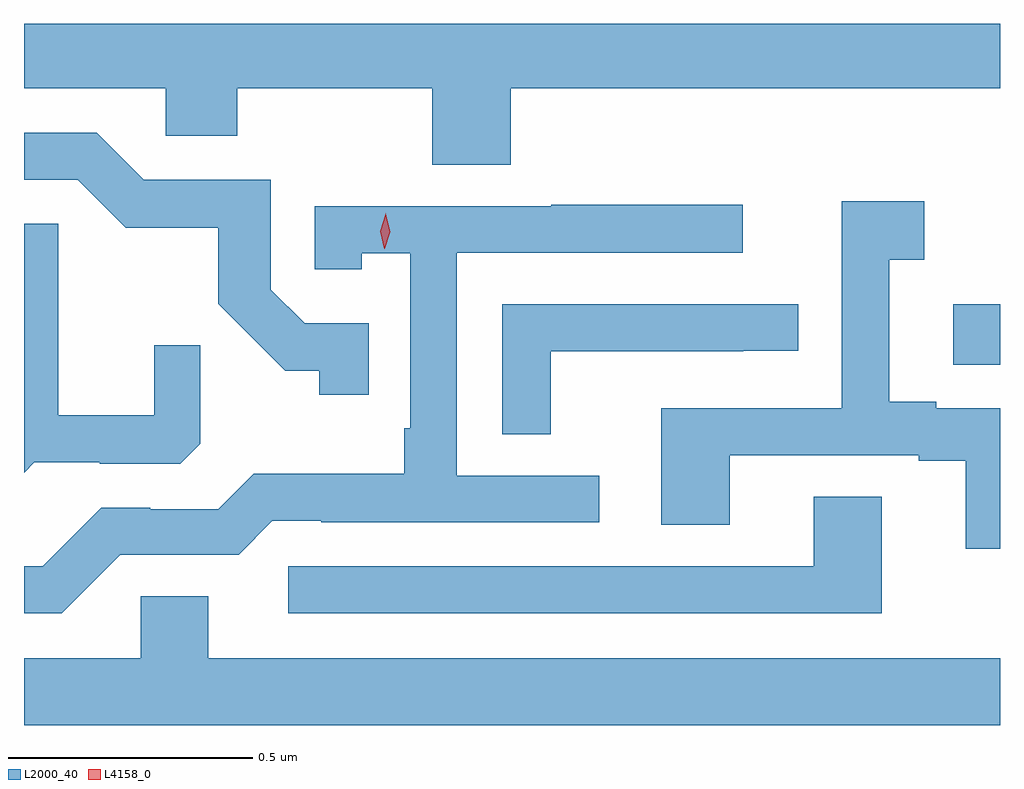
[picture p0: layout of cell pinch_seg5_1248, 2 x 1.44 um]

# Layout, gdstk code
import gdstk
lib = gdstk.Library(unit=1e-6, precision=1e-09)
def R(c, l, rs):  # rectangles x0, y0, x1, y1
    for r in rs: c.add(gdstk.rectangle(r[:2], r[2:], *l))
def P(c, l, *ps):  # polygons
    for p in ps: c.add(gdstk.Polygon(p, *l))
L2000_40 = (2000, 40)
L4158_0 = (4158, 0)

pinch_seg5_1248 = lib.new_cell('pinch_seg5_1248')
R(pinch_seg5_1248, L2000_40, [(372.969,914.801,373.065,914.925)])
P(pinch_seg5_1248, L2000_40, [(372.062,915.368),(373.065,915.368),(373.065,915.5),(371.065,915.5),(371.065,915.368),(371.355,915.368),(371.355,915.27),(371.502,915.27),(371.502,915.368),(371.902,915.368),(371.902,915.211),(372.062,915.211)],
  [(371.771,914.886),(371.64,914.886),(371.571,914.955),(371.571,915.18),(371.31,915.18),(371.214,915.276),(371.065,915.276),(371.065,915.18),(371.175,915.18),(371.274,915.082),(371.463,915.082),(371.463,914.926),(371.6,914.789),(371.67,914.789),(371.67,914.739),(371.771,914.739)],
  [(373.065,914.712),(372.934,914.712),(372.934,914.725),(372.838,914.725),(372.838,915.016),(372.91,915.016),(372.91,915.136),(372.741,915.136),(372.741,914.712),(372.371,914.712),(372.371,914.473),(372.511,914.473),(372.511,914.616),(372.899,914.616),(372.899,914.604),(372.995,914.604),(372.995,914.424),(373.065,914.424)],
  [(371.262,914.412),(371.505,914.412),(371.574,914.481),(371.674,914.481),(371.674,914.478),(372.244,914.478),(372.244,914.574),(371.952,914.574),(371.952,915.03),(372.538,915.03),(372.538,915.129),(372.145,915.129),(372.145,915.126),(371.661,915.126),(371.661,914.997),(371.757,914.997),(371.757,915.029),(371.856,915.029),(371.856,914.671),(371.844,914.671),(371.844,914.578),(371.536,914.578),(371.463,914.505),(371.324,914.505),(371.324,914.508),(371.223,914.508),(371.103,914.388),(371.065,914.388),(371.065,914.292),(371.142,914.292)],
  [(371.086,914.601),(371.22,914.601),(371.22,914.598),(371.385,914.598),(371.426,914.639),(371.426,914.841),(371.332,914.841),(371.332,914.698),(371.135,914.698),(371.135,915.09),(371.065,915.09),(371.065,914.58)],
  [(372.144,914.829),(372.539,914.829),(372.539,914.83),(372.652,914.83),(372.652,914.925),(372.045,914.925),(372.045,914.659),(372.144,914.659)],
  [(372.823,914.531),(372.683,914.531),(372.683,914.388),(371.607,914.388),(371.607,914.292),(372.823,914.292)],
  [(373.065,914.2),(371.443,914.2),(371.443,914.327),(371.304,914.327),(371.304,914.2),(371.065,914.2),(371.065,914.062),(373.065,914.062)])
P(pinch_seg5_1248, L4158_0, [(371.803,915.039),(371.795,915.075),(371.806,915.11),(371.806,915.111),(371.806,915.11),(371.815,915.074),(371.804,915.039),(371.804,915.039)])

lib.write_gds('pinch_seg5_1248.gds')
